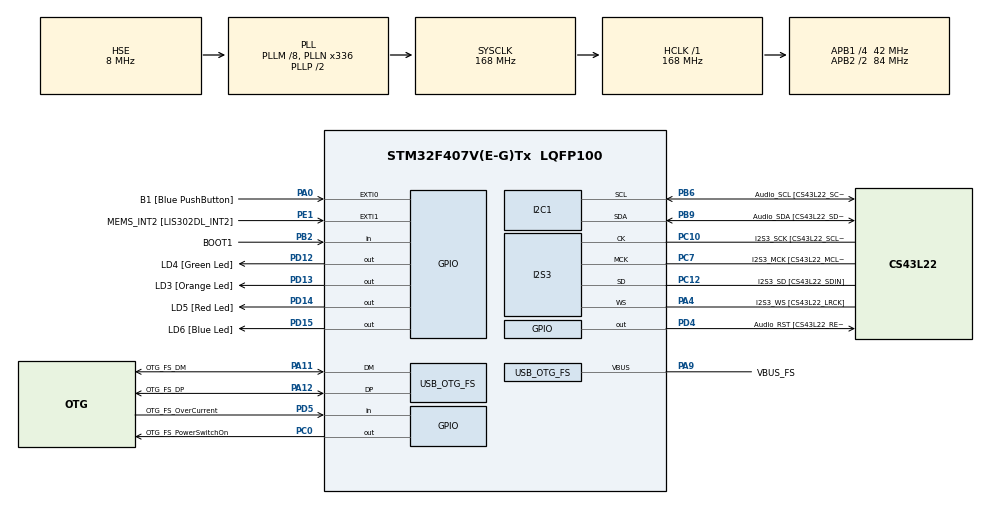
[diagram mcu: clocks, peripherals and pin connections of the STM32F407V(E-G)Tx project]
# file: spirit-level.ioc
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I2S3.AudioFreq-Half_Duplex_Master=I2S_AUDIOFREQ_96K
I2S3.ErrorAudioFreq=-2.34 %
I2S3.ErrorAudioFreq-Half_Duplex_Master=0.8 %
I2S3.FullDuplexMode=I2S_FULLDUPLEXMODE_DISABLE
I2S3.Instance=SPI$Index
I2S3.RealAudioFreq=93.75 KHz
I2S3.RealAudioFreq-Half_Duplex_Master=96.774 KHz
I2S3.VirtualMode=I2S_MODE_MASTER
Mcu.Family=STM32F4
Mcu.Name=STM32F407V(E-G)Tx
Mcu.Package=LQFP100
NVIC.OTG_FS_IRQn=true\:0\:0\:false\:false\:true\:true\:true\:true
NVIC.PriorityGroup=NVIC_PRIORITYGROUP_0
PA0-WKUP.GPIO_Label=B1 [Blue PushButton]
PA0-WKUP.GPIO_ModeDefaultEXTI=GPIO_MODE_EVT_RISING
PA0-WKUP.GPIO_PuPd=GPIO_NOPULL
PA0-WKUP.Signal=GPXTI0
PA10.GPIO_Label=OTG_FS_ID
PA10.GPIO_Mode=GPIO_MODE_AF_PP
PA10.GPIO_PuPd=GPIO_NOPULL
PA10.GPIO_Speed=GPIO_SPEED_FREQ_LOW
PA10.Signal=USB_OTG_FS_ID
PA11.GPIO_Label=OTG_FS_DM
PA11.GPIO_Mode=GPIO_MODE_AF_PP
PA11.GPIO_PuPd=GPIO_NOPULL
PA11.GPIO_Speed=GPIO_SPEED_FREQ_LOW
PA11.Mode=Host_Only
PA11.Signal=USB_OTG_FS_DM
PA12.GPIO_Label=OTG_FS_DP
PA12.GPIO_Mode=GPIO_MODE_AF_PP
PA12.GPIO_PuPd=GPIO_NOPULL
PA12.GPIO_Speed=GPIO_SPEED_FREQ_LOW
PA12.Mode=Host_Only
PA12.Signal=USB_OTG_FS_DP
PA13.GPIO_Label=SWDIO
PA13.Mode=Serial_Wire
PA13.Signal=SYS_JTMS-SWDIO
PA14.GPIO_Label=SWCLK
PA14.Mode=Serial_Wire
PA14.Signal=SYS_JTCK-SWCLK
PA4.GPIO_Label=I2S3_WS [CS43L22_LRCK]
PA4.GPIO_Mode=GPIO_MODE_AF_PP
PA4.GPIO_PuPd=GPIO_NOPULL
PA4.GPIO_Speed=GPIO_SPEED_FREQ_LOW
PA4.Mode=Half_Duplex_Master
PA4.Signal=I2S3_WS
PA9.GPIO_Label=VBUS_FS
PA9.GPIO_Mode=GPIO_MODE_INPUT
PA9.GPIO_PuPd=GPIO_NOPULL
PA9.Mode=Activate_VBUS
PA9.Signal=USB_OTG_FS_VBUS
PB10.GPIO_Label=CLK_IN [MP45DT02_CLK]
PB10.GPIO_Mode=GPIO_MODE_AF_PP
PB10.GPIO_PuPd=GPIO_NOPULL
PB10.GPIO_Speed=GPIO_SPEED_FREQ_LOW
PB10.Signal=I2S2_CK
PB2.GPIO_Label=BOOT1
PB2.GPIO_Mode=GPIO_MODE_INPUT
PB2.GPIO_PuPd=GPIO_NOPULL
PB2.Signal=GPIO_Input
PB3.GPIO_Label=SWO
PB3.Signal=SYS_JTDO-SWO
PB6.GPIO_Label=Audio_SCL [CS43L22_SCL]
PB6.GPIO_Mode=GPIO_MODE_AF_OD
PB6.GPIO_Pu=GPIO_PULLUP
PB6.GPIO_PuPd=GPIO_NOPULL
PB6.GPIO_Speed=GPIO_SPEED_FREQ_LOW
PB6.Mode=I2C
PB6.Signal=I2C1_SCL
PB9.GPIO_Label=Audio_SDA [CS43L22_SDA]
PB9.GPIO_Mode=GPIO_MODE_AF_OD
PB9.GPIO_Pu=GPIO_PULLUP
PB9.GPIO_PuPd=GPIO_NOPULL
PB9.GPIO_Speed=GPIO_SPEED_FREQ_LOW
PB9.Mode=I2C
PB9.Signal=I2C1_SDA
PC0.GPIO_Label=OTG_FS_PowerSwitchOn
PC0.GPIO_PuPd=GPIO_NOPULL
PC0.GPIO_Speed=GPIO_SPEED_FREQ_LOW
PC0.PinState=GPIO_PIN_SET
PC0.Signal=GPIO_Output
PC10.GPIO_Label=I2S3_SCK [CS43L22_SCLK]
PC10.GPIO_Mode=GPIO_MODE_AF_PP
PC10.GPIO_PuPd=GPIO_NOPULL
PC10.GPIO_Speed=GPIO_SPEED_FREQ_LOW
PC10.Mode=Half_Duplex_Master
PC10.Signal=I2S3_CK
PC12.GPIO_Label=I2S3_SD [CS43L22_SDIN]
PC12.GPIO_Mode=GPIO_MODE_AF_PP
PC12.GPIO_PuPd=GPIO_NOPULL
PC12.GPIO_Speed=GPIO_SPEED_FREQ_LOW
PC12.Mode=Half_Duplex_Master
PC12.Signal=I2S3_SD
PC14-OSC32_IN.GPIO_Label=PC14-OSC32_IN
PC14-OSC32_IN.Mode=LSE-External-Oscillator
PC14-OSC32_IN.Signal=RCC_OSC32_IN
PC15-OSC32_OUT.GPIO_Label=PC15-OSC32_OUT
PC15-OSC32_OUT.Mode=LSE-External-Oscillator
PC15-OSC32_OUT.Signal=RCC_OSC32_OUT
PC3.GPIO_Label=PDM_OUT [MP45DT02_DOUT]
PC3.GPIO_Mode=GPIO_MODE_AF_PP
PC3.GPIO_PuPd=GPIO_NOPULL
PC3.GPIO_Speed=GPIO_SPEED_FREQ_LOW
PC3.Signal=I2S2_SD
PC7.GPIO_Label=I2S3_MCK [CS43L22_MCLK]
PC7.GPIO_Mode=GPIO_MODE_AF_PP
PC7.GPIO_PuPd=GPIO_NOPULL
PC7.GPIO_Speed=GPIO_SPEED_FREQ_LOW
PC7.Mode=Master_Clock_Activated
PC7.Signal=I2S3_MCK
PD12.GPIO_Label=LD4 [Green Led]
PD12.GPIO_PuPd=GPIO_NOPULL
PD12.GPIO_Speed=GPIO_SPEED_FREQ_LOW
PD12.Signal=GPIO_Output
PD13.GPIO_Label=LD3 [Orange Led]
PD13.GPIO_PuPd=GPIO_NOPULL
PD13.GPIO_Speed=GPIO_SPEED_FREQ_LOW
PD13.Signal=GPIO_Output
PD14.GPIO_Label=LD5 [Red Led]
PD14.GPIO_PuPd=GPIO_NOPULL
PD14.GPIO_Speed=GPIO_SPEED_FREQ_LOW
PD14.Signal=GPIO_Output
PD15.GPIO_Label=LD6 [Blue Led]
PD15.GPIO_PuPd=GPIO_NOPULL
PD15.GPIO_Speed=GPIO_SPEED_FREQ_LOW
PD15.Signal=GPIO_Output
PD4.GPIO_Label=Audio_RST [CS43L22_RESET]
PD4.GPIO_PuPd=GPIO_NOPULL
PD4.GPIO_Speed=GPIO_SPEED_FREQ_LOW
PD4.Signal=GPIO_Output
PD5.GPIO_Label=OTG_FS_OverCurrent
PD5.GPIO_Mode=GPIO_MODE_INPUT
PD5.GPIO_PuPd=GPIO_NOPULL
PD5.Signal=GPIO_Input
PE1.GPIO_Label=MEMS_INT2 [LIS302DL_INT2]
PE1.GPIO_ModeDefaultEXTI=GPIO_MODE_EVT_RISING
PE1.GPIO_PuPd=GPIO_NOPULL
PE1.Signal=GPXTI1
PH0-OSC_IN.GPIO_Label=PH0-OSC_IN
PH0-OSC_IN.Mode=HSE-External-Oscillator
PH0-OSC_IN.Signal=RCC_OSC_IN
PH1-OSC_OUT.GPIO_Label=PH1-OSC_OUT
PH1-OSC_OUT.Mode=HSE-External-Oscillator
PH1-OSC_OUT.Signal=RCC_OSC_OUT
ProjectManager.HeapSize=0x200
ProjectManager.StackSize=0x400
ProjectManager.TargetToolchain=CMake
RCC.48MHZClocksFreq_Value=48000000
RCC.AHBFreq_Value=168000000
RCC.APB1CLKDivider=RCC_HCLK_DIV4
RCC.APB1Freq_Value=42000000
RCC.APB1TimFreq_Value=84000000
RCC.APB2CLKDivider=RCC_HCLK_DIV2
RCC.APB2Freq_Value=84000000
RCC.APB2TimFreq_Value=168000000
RCC.CortexFreq_Value=168000000
RCC.HCLKFreq_Value=168000000
RCC.HSE_VALUE=8000000
RCC.HSI_VALUE=16000000
RCC.PLLM=8
RCC.PLLN=336
RCC.PLLQ=7
RCC.SYSCLKFreq_VALUE=168000000
RCC.SYSCLKSource=RCC_SYSCLKSOURCE_PLLCLK
RCC.VCOOutputFreq_Value=336000000
USB_HOST.BSP.number=1
USB_HOST.USBH_HandleTypeDef-CDC_FS=hUsbHostFS
USB_HOST.VirtualModeFS=Cdc
USB_HOST0.BSP.STBoard=false
USB_HOST0.BSP.api=Unknown
USB_HOST0.BSP.instance=PC0
USB_HOST0.BSP.ip=GPIO
USB_HOST0.BSP.mode=Output
USB_HOST0.BSP.name=Drive_VBUS_FS
USB_HOST0.BSP.solution=PC0
USB_OTG_FS.VirtualMode=Host_Only
USB_OTG_FS.phy_itface=HCD_PHY_EMBEDDED
VP_USB_HOST_VS_USB_HOST_CDC_FS.Mode=CDC_FS
board=STM32F407G-DISC1

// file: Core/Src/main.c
/* USER CODE BEGIN Header */
/**
  ******************************************************************************
  * @file           : main.c
  * @brief          : Main program body
  ******************************************************************************
  * @attention
  *
  * Copyright (c) 2026 STMicroelectronics.
  * All rights reserved.
  *
  * This software is licensed under terms that can be found in the LICENSE file
  * in the root directory of this software component.
  * If no LICENSE file comes with this software, it is provided AS-IS.
  *
  ******************************************************************************
  */
/* USER CODE END Header */
#include "main.h"
#include "usb_host.h"

/* USER CODE BEGIN Includes */
#include "stm32f4_discovery_accelerometer.h"
/* USER CODE END Includes */

I2C_HandleTypeDef hi2c1;

I2S_HandleTypeDef hi2s3;

/* USER CODE BEGIN PV */
static uint32_t last_tick = 0;
static int16_t xyz[3];
/* USER CODE END PV */

static void SystemClock_Config(void);

static void MX_GPIO_Init(void);

static void MX_I2C1_Init(void);

static void MX_I2S3_Init(void);

/* USER CODE BEGIN PFP */
static void tilt_leds(int16_t value, GPIO_TypeDef *gpio_x, uint16_t gpio_positive_pin, uint16_t gpio_negative_pin);

/* USER CODE END PFP */

int main(void) {

    /* MCU Configuration--------------------------------------------------------*/

    /* Reset of all peripherals, Initializes the Flash interface and the Systick. */
    HAL_Init();

    /* Configure the system clock */
    SystemClock_Config();

    /* Initialize all configured peripherals */
    MX_GPIO_Init();
    MX_I2C1_Init();
    MX_I2S3_Init();
    MX_USB_HOST_Init();
    /* USER CODE BEGIN 2 */
    if (BSP_ACCELERO_Init() != ACCELERO_OK) {
        Error_Handler();
    }
    /* USER CODE END 2 */

    /* Infinite loop */
    while (1) {
        MX_USB_HOST_Process();

        /* USER CODE BEGIN 3 */
        const uint32_t now = HAL_GetTick();
        if (now - last_tick >= 100) {
            last_tick = now;
            BSP_ACCELERO_GetXYZ(xyz);

            tilt_leds(xyz[0], GPIOD, LD5_Pin, LD4_Pin);
            tilt_leds(xyz[1], GPIOD, LD3_Pin, LD6_Pin);
        }
    }

    /* USER CODE END 3 */
}

void SystemClock_Config(void) {
    RCC_OscInitTypeDef RCC_OscInitStruct = {0};
    RCC_ClkInitTypeDef RCC_ClkInitStruct = {0};

    /** Configure the main internal regulator output voltage
    */
    __HAL_RCC_PWR_CLK_ENABLE();
    __HAL_PWR_VOLTAGESCALING_CONFIG(PWR_REGULATOR_VOLTAGE_SCALE1);

    /** Initializes the RCC Oscillators according to the specified parameters
    * in the RCC_OscInitTypeDef structure.
    */
    RCC_OscInitStruct.OscillatorType = RCC_OSCILLATORTYPE_HSE;
    RCC_OscInitStruct.HSEState = RCC_HSE_ON;
    RCC_OscInitStruct.PLL.PLLState = RCC_PLL_ON;
    RCC_OscInitStruct.PLL.PLLSource = RCC_PLLSOURCE_HSE;
    RCC_OscInitStruct.PLL.PLLM = 8;
    RCC_OscInitStruct.PLL.PLLN = 336;
    RCC_OscInitStruct.PLL.PLLP = RCC_PLLP_DIV2;
    RCC_OscInitStruct.PLL.PLLQ = 7;
    if (HAL_RCC_OscConfig(&RCC_OscInitStruct) != HAL_OK) {
        Error_Handler();
    }

    /** Initializes the CPU, AHB and APB buses clocks
      */
    RCC_ClkInitStruct.ClockType = RCC_CLOCKTYPE_HCLK | RCC_CLOCKTYPE_SYSCLK | RCC_CLOCKTYPE_PCLK1 | RCC_CLOCKTYPE_PCLK2;
    RCC_ClkInitStruct.SYSCLKSource = RCC_SYSCLKSOURCE_PLLCLK;
    RCC_ClkInitStruct.AHBCLKDivider = RCC_SYSCLK_DIV1;
    RCC_ClkInitStruct.APB1CLKDivider = RCC_HCLK_DIV4;
    RCC_ClkInitStruct.APB2CLKDivider = RCC_HCLK_DIV2;

    if (HAL_RCC_ClockConfig(&RCC_ClkInitStruct, FLASH_LATENCY_5) != HAL_OK) {
        Error_Handler();
    }
}

static void MX_I2C1_Init(void) {

    hi2c1.Instance = I2C1;
    hi2c1.Init.ClockSpeed = 100000;
    hi2c1.Init.DutyCycle = I2C_DUTYCYCLE_2;
    hi2c1.Init.OwnAddress1 = 0;
    hi2c1.Init.AddressingMode = I2C_ADDRESSINGMODE_7BIT;
    hi2c1.Init.DualAddressMode = I2C_DUALADDRESS_DISABLE;
    hi2c1.Init.OwnAddress2 = 0;
    hi2c1.Init.GeneralCallMode = I2C_GENERALCALL_DISABLE;
    hi2c1.Init.NoStretchMode = I2C_NOSTRETCH_DISABLE;
    if (HAL_I2C_Init(&hi2c1) != HAL_OK) {
        Error_Handler();
    }
}

static void MX_I2S3_Init(void) {

    hi2s3.Instance = SPI3;
    hi2s3.Init.Mode = I2S_MODE_MASTER_TX;
    hi2s3.Init.Standard = I2S_STANDARD_PHILIPS;
    hi2s3.Init.DataFormat = I2S_DATAFORMAT_16B;
    hi2s3.Init.MCLKOutput = I2S_MCLKOUTPUT_ENABLE;
    hi2s3.Init.AudioFreq = I2S_AUDIOFREQ_96K;
    hi2s3.Init.CPOL = I2S_CPOL_LOW;
    hi2s3.Init.ClockSource = I2S_CLOCK_PLL;
    hi2s3.Init.FullDuplexMode = I2S_FULLDUPLEXMODE_DISABLE;
    if (HAL_I2S_Init(&hi2s3) != HAL_OK) {
        Error_Handler();
    }
}

static void MX_GPIO_Init(void) {
    GPIO_InitTypeDef GPIO_InitStruct = {0};

    /* GPIO Ports Clock Enable */
    __HAL_RCC_GPIOE_CLK_ENABLE();
    __HAL_RCC_GPIOC_CLK_ENABLE();
    __HAL_RCC_GPIOH_CLK_ENABLE();
    __HAL_RCC_GPIOA_CLK_ENABLE();
    __HAL_RCC_GPIOB_CLK_ENABLE();
    __HAL_RCC_GPIOD_CLK_ENABLE();

    /*Configure GPIO pin Output Level */
    HAL_GPIO_WritePin(OTG_FS_PowerSwitchOn_GPIO_Port, OTG_FS_PowerSwitchOn_Pin, GPIO_PIN_SET);

    /*Configure GPIO pin Output Level */
    HAL_GPIO_WritePin(GPIOD, LD4_Pin | LD3_Pin | LD5_Pin | LD6_Pin | Audio_RST_Pin, GPIO_PIN_RESET);

    /*Configure GPIO pin : OTG_FS_PowerSwitchOn_Pin */
    GPIO_InitStruct.Pin = OTG_FS_PowerSwitchOn_Pin;
    GPIO_InitStruct.Mode = GPIO_MODE_OUTPUT_PP;
    GPIO_InitStruct.Pull = GPIO_NOPULL;
    GPIO_InitStruct.Speed = GPIO_SPEED_FREQ_LOW;
    HAL_GPIO_Init(OTG_FS_PowerSwitchOn_GPIO_Port, &GPIO_InitStruct);

    /*Configure GPIO pin : PDM_OUT_Pin */
    GPIO_InitStruct.Pin = PDM_OUT_Pin;
    GPIO_InitStruct.Mode = GPIO_MODE_AF_PP;
    GPIO_InitStruct.Pull = GPIO_NOPULL;
    GPIO_InitStruct.Speed = GPIO_SPEED_FREQ_LOW;
    GPIO_InitStruct.Alternate = GPIO_AF5_SPI2;
    HAL_GPIO_Init(PDM_OUT_GPIO_Port, &GPIO_InitStruct);

    /*Configure GPIO pin : B1_Pin */
    GPIO_InitStruct.Pin = B1_Pin;
    GPIO_InitStruct.Mode = GPIO_MODE_EVT_RISING;
    GPIO_InitStruct.Pull = GPIO_NOPULL;
    HAL_GPIO_Init(B1_GPIO_Port, &GPIO_InitStruct);

    /*Configure GPIO pin : BOOT1_Pin */
    GPIO_InitStruct.Pin = BOOT1_Pin;
    GPIO_InitStruct.Mode = GPIO_MODE_INPUT;
    GPIO_InitStruct.Pull = GPIO_NOPULL;
    HAL_GPIO_Init(BOOT1_GPIO_Port, &GPIO_InitStruct);

    /*Configure GPIO pin : CLK_IN_Pin */
    GPIO_InitStruct.Pin = CLK_IN_Pin;
    GPIO_InitStruct.Mode = GPIO_MODE_AF_PP;
    GPIO_InitStruct.Pull = GPIO_NOPULL;
    GPIO_InitStruct.Speed = GPIO_SPEED_FREQ_LOW;
    GPIO_InitStruct.Alternate = GPIO_AF5_SPI2;
    HAL_GPIO_Init(CLK_IN_GPIO_Port, &GPIO_InitStruct);

    /*Configure GPIO pins : LD4_Pin LD3_Pin LD5_Pin LD6_Pin Audio_RST_Pin */
    GPIO_InitStruct.Pin = LD4_Pin | LD3_Pin | LD5_Pin | LD6_Pin | Audio_RST_Pin;
    GPIO_InitStruct.Mode = GPIO_MODE_OUTPUT_PP;
    GPIO_InitStruct.Pull = GPIO_NOPULL;
    GPIO_InitStruct.Speed = GPIO_SPEED_FREQ_LOW;
    HAL_GPIO_Init(GPIOD, &GPIO_InitStruct);

    /*Configure GPIO pin : OTG_FS_OverCurrent_Pin */
    GPIO_InitStruct.Pin = OTG_FS_OverCurrent_Pin;
    GPIO_InitStruct.Mode = GPIO_MODE_INPUT;
    GPIO_InitStruct.Pull = GPIO_NOPULL;
    HAL_GPIO_Init(OTG_FS_OverCurrent_GPIO_Port, &GPIO_InitStruct);

    /*Configure GPIO pin : MEMS_INT2_Pin */
    GPIO_InitStruct.Pin = MEMS_INT2_Pin;
    GPIO_InitStruct.Mode = GPIO_MODE_EVT_RISING;
    GPIO_InitStruct.Pull = GPIO_NOPULL;
    HAL_GPIO_Init(MEMS_INT2_GPIO_Port, &GPIO_InitStruct);

}

/* USER CODE BEGIN 4 */
static void tilt_leds(const int16_t value, GPIO_TypeDef *gpio_x, const uint16_t gpio_positive_pin,
                      const uint16_t gpio_negative_pin) {
    HAL_GPIO_WritePin(gpio_x, gpio_positive_pin, value > 20 ? GPIO_PIN_SET : GPIO_PIN_RESET);
    HAL_GPIO_WritePin(gpio_x, gpio_negative_pin, value < -20 ? GPIO_PIN_SET : GPIO_PIN_RESET);
}

/* USER CODE END 4 */

void Error_Handler(void) {
    __disable_irq();
    while (1) {
    }
}
